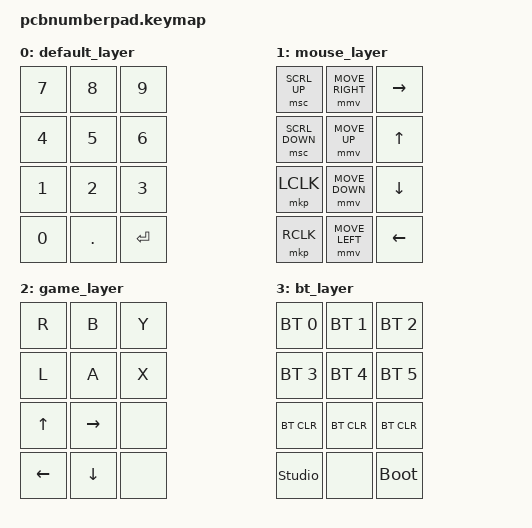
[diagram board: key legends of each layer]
#include <behaviors.dtsi>
#include <dt-bindings/zmk/keys.h>
#include <dt-bindings/zmk/bt.h>

#define ZMK_POINTING_DEFAULT_MOVE_VAL 1500  // default: 600
#define ZMK_POINTING_DEFAULT_SCRL_VAL 20    // default: 10
#include <dt-bindings/zmk/pointing.h>

/ {
    combos {
        compatible = "zmk,combos";

        //middle click mouse button (mouse layer)
        combo_mouse_mb3 {
            timeout-ms = <30>;
            key-positions = <3 6>;
            bindings = <&mkp MB3>;
        };

        //enter (mouse layer)
        combo_mouse_enter {
            timeout-ms = <30>;
            key-positions = <6 9>;
            bindings = <&kp ENTER>;
        };
        
        //backspace (mouse layer)
        combo_mouse_bspc {
            timeout-ms = <30>;
            key-positions = <0 3>;
            bindings = <&kp BSPC>;
        };

        //backspace (base layer)
        combo_base_bspc {
            timeout-ms = <30>;
            key-positions = <1 2>;
            bindings = <&kp BSPC>;
        };
        
        //toggle layer 0 (return to base layer)
        combo_layer0 {
            timeout-ms = <30>;
            key-positions = <0 1 2>;
            bindings = <&to 0>;
        };

        //toggle layer 1 (navigation layer)
        combo_layer1 {
            timeout-ms = <30>;
            key-positions = <3 4 5>;
            bindings = <&to 1>;
        };

        //toggle layer 2 (game layer)
        combo_layer2 {
            timeout-ms = <30>;
            key-positions = <6 7 8>;
            bindings = <&to 2>;
        };

        //toggle layer 3 (bluetooth layer)
        combo_layer3 {
            timeout-ms = <30>;
            key-positions = <9 10 11>;
            bindings = <&to 3>;
        };
    };    


    keymap {
        compatible = "zmk,keymap";

        // Layer 0: Number Pad
        default_layer {
            bindings = <
                &kp N7      &kp N8       &kp N9
                &kp N4      &kp N5       &kp N6
                &kp N1      &kp N2       &kp N3
                &kp N0      &kp DOT      &kp ENTER
            >;
        };
        
        // Layer 1: Mouse Controls
        mouse_layer { 
            bindings = <
                &msc SCRL_UP    &mmv MOVE_RIGHT     &kp RIGHT       
                &msc SCRL_DOWN  &mmv MOVE_UP        &kp UP    
                &mkp LCLK       &mmv MOVE_DOWN      &kp DOWN   
                &mkp RCLK       &mmv MOVE_LEFT      &kp LEFT                    
            >;
        };

        // Layer 2: Gamepad
        game_layer {
            bindings = <
                &kp R            &kp B      &kp Y
                &kp L            &kp A      &kp X
                &kp UP    &kp RIGHT       &none
                &kp LEFT      &kp DOWN        &none    
            >;
        };

        // Layer 3: Bluetooth
        bt_layer {
            bindings = <
                &bt BT_SEL 0    &bt BT_SEL 1    &bt BT_SEL 2
                &bt BT_SEL 3    &bt BT_SEL 4    &bt BT_SEL 5
                &bt BT_CLR      &bt BT_CLR      &bt BT_CLR           
                &studio_unlock  &none           &bootloader
            >;
        };

    };
 };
